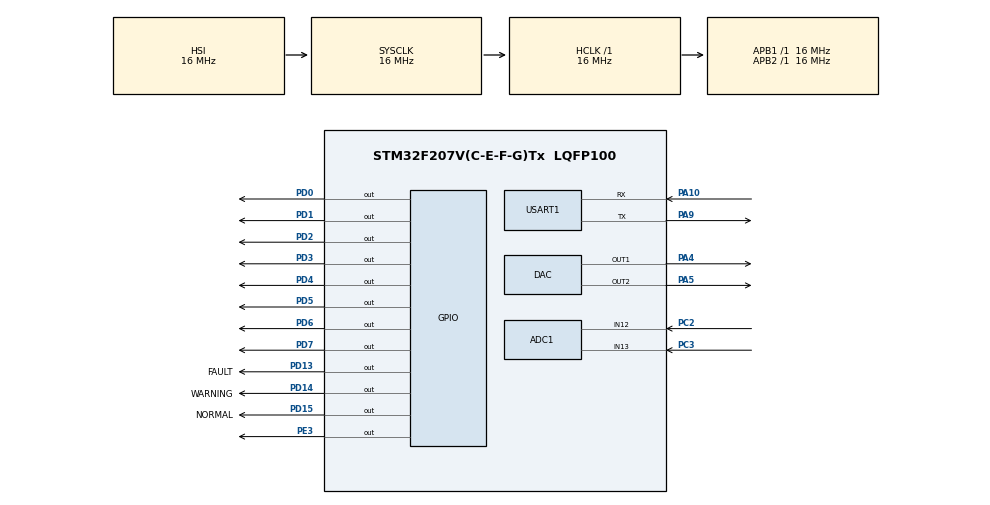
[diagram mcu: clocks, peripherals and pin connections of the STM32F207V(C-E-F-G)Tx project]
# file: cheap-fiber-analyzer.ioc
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ADC1.Channel-0\#ChannelRegularConversion=ADC_CHANNEL_12
ADC1.Channel-3\#ChannelRegularConversion=ADC_CHANNEL_13
ADC1.InjNumberOfConversion=0
ADC1.NbrOfConversion=2
ADC1.NbrOfConversionFlag=1
ADC1.Rank-0\#ChannelRegularConversion=1
ADC1.Rank-3\#ChannelRegularConversion=2
ADC1.SamplingTime-0\#ChannelRegularConversion=ADC_SAMPLETIME_84CYCLES
ADC1.SamplingTime-3\#ChannelRegularConversion=ADC_SAMPLETIME_84CYCLES
ADC1.ScanConvMode=ENABLE
ADC1.master=1
Mcu.Family=STM32F2
Mcu.Name=STM32F207V(C-E-F-G)Tx
Mcu.Package=LQFP100
NVIC.PriorityGroup=NVIC_PRIORITYGROUP_4
PA10.Mode=Asynchronous
PA10.Signal=USART1_RX
PA13.Mode=Serial_Wire
PA13.Signal=SYS_JTMS-SWDIO
PA14.Mode=Serial_Wire
PA14.Signal=SYS_JTCK-SWCLK
PA4.Signal=COMP_DAC1_group
PA5.Signal=COMP_DAC2_group
PA9.Mode=Asynchronous
PA9.Signal=USART1_TX
PC2.Signal=ADCx_IN12
PC3.Signal=ADCx_IN13
PD0.Signal=GPIO_Output
PD1.Signal=GPIO_Output
PD13.GPIO_Label=FAULT
PD13.Signal=GPIO_Output
PD14.GPIO_Label=WARNING
PD14.Signal=GPIO_Output
PD15.GPIO_Label=NORMAL
PD15.Signal=GPIO_Output
PD2.Signal=GPIO_Output
PD3.Signal=GPIO_Output
PD4.PinState=GPIO_PIN_SET
PD4.Signal=GPIO_Output
PD5.Signal=GPIO_Output
PD6.Signal=GPIO_Output
PD7.Signal=GPIO_Output
PE3.PinState=GPIO_PIN_SET
PE3.Signal=GPIO_Output
ProjectManager.HeapSize=0x200
ProjectManager.StackSize=0x400
ProjectManager.TargetToolchain=STM32CubeIDE
RCC.48MHZClocksFreq_Value=48000000
RCC.AHBFreq_Value=16000000
RCC.APB1Freq_Value=16000000
RCC.APB2Freq_Value=16000000
RCC.CortexFreq_Value=16000000
RCC.HSE_VALUE=25000000
RCC.HSI_VALUE=16000000
RCC.LSE_VALUE=32768
RCC.SYSCLKFreq_VALUE=16000000
RCC.VCOOutputFreq_Value=192000000
SH.ADCx_IN12.0=ADC1_IN12,IN12
SH.ADCx_IN13.0=ADC1_IN13,IN13
SH.COMP_DAC1_group.0=DAC_OUT1,DAC_OUT1
SH.COMP_DAC2_group.0=DAC_OUT2,DAC_OUT2
USART1.VirtualMode=VM_ASYNC
board=custom

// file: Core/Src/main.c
/* USER CODE BEGIN Header */
/**
  ******************************************************************************
  * @file           : main.c
  * @brief          : Main program body
  ******************************************************************************
  * @attention
  *
  * Copyright (c) 2026 STMicroelectronics.
  * All rights reserved.
  *
  * This software is licensed under terms that can be found in the LICENSE file
  * in the root directory of this software component.
  * If no LICENSE file comes with this software, it is provided AS-IS.
  *
  ******************************************************************************
  */
/* USER CODE END Header */
#include "main.h"

/* USER CODE BEGIN Includes */
#include <stdio.h>
#include <string.h>

/* USER CODE END Includes */

ADC_HandleTypeDef hadc1;

DAC_HandleTypeDef hdac;

UART_HandleTypeDef huart1;

/* USER CODE BEGIN PV */
volatile uint32_t adc12_value = 0;
volatile uint32_t adc13_value = 0;

char uart_tx_buffer[80];

/* USER CODE END PV */

void SystemClock_Config(void);
static void MX_GPIO_Init(void);
static void MX_ADC1_Init(void);
static void MX_DAC_Init(void);
static void MX_USART1_UART_Init(void);

int main(void)
{

  /* MCU Configuration--------------------------------------------------------*/

  /* Reset of all peripherals, Initializes the Flash interface and the Systick. */
  HAL_Init();

  /* Configure the system clock */
  SystemClock_Config();

  /* Initialize all configured peripherals */
  MX_GPIO_Init();
  MX_ADC1_Init();
  MX_DAC_Init();
  MX_USART1_UART_Init();

  /* Infinite loop */
  while (1)
  {

    /* USER CODE BEGIN 3 */
	  HAL_GPIO_WritePin(GPIOE, GPIO_PIN_3, GPIO_PIN_RESET);
    /* Start ADC conversion sequence */
    if (HAL_ADC_Start(&hadc1) != HAL_OK)
    {
      Error_Handler();
    }

    /* Rank 1 = ADC12 */
    if (HAL_ADC_PollForConversion(&hadc1, 100) != HAL_OK)
    {
      Error_Handler();
    }

    adc12_value = HAL_ADC_GetValue(&hadc1);

    /* Rank 2 = ADC13 */
    if (HAL_ADC_PollForConversion(&hadc1, 100) != HAL_OK)
    {
      Error_Handler();
    }

    adc13_value = HAL_ADC_GetValue(&hadc1);

    HAL_ADC_Stop(&hadc1);

    /* Send measurement through USART1 */
    snprintf(
        uart_tx_buffer,
        sizeof(uart_tx_buffer),
        "ADC12=%lu;ADC13=%lu;DAC1=0;DAC2=0\r\n",
        (unsigned long)adc12_value,
        (unsigned long)adc13_value
    );

    if (HAL_UART_Transmit(
            &huart1,
            (uint8_t *)uart_tx_buffer,
            (uint16_t)strlen(uart_tx_buffer),
            100) != HAL_OK)
    {
      Error_Handler();
    }

    HAL_Delay(500);

    /* USER CODE END 3 */
  }
}

void SystemClock_Config(void)
{
  RCC_OscInitTypeDef RCC_OscInitStruct = {0};
  RCC_ClkInitTypeDef RCC_ClkInitStruct = {0};

  /** Initializes the RCC Oscillators according to the specified parameters
  * in the RCC_OscInitTypeDef structure.
  */
  RCC_OscInitStruct.OscillatorType = RCC_OSCILLATORTYPE_HSI;
  RCC_OscInitStruct.HSIState = RCC_HSI_ON;
  RCC_OscInitStruct.HSICalibrationValue = RCC_HSICALIBRATION_DEFAULT;
  RCC_OscInitStruct.PLL.PLLState = RCC_PLL_NONE;
  if (HAL_RCC_OscConfig(&RCC_OscInitStruct) != HAL_OK)
  {
    Error_Handler();
  }

  /** Initializes the CPU, AHB and APB buses clocks
  */
  RCC_ClkInitStruct.ClockType = RCC_CLOCKTYPE_HCLK|RCC_CLOCKTYPE_SYSCLK
                              |RCC_CLOCKTYPE_PCLK1|RCC_CLOCKTYPE_PCLK2;
  RCC_ClkInitStruct.SYSCLKSource = RCC_SYSCLKSOURCE_HSI;
  RCC_ClkInitStruct.AHBCLKDivider = RCC_SYSCLK_DIV1;
  RCC_ClkInitStruct.APB1CLKDivider = RCC_HCLK_DIV1;
  RCC_ClkInitStruct.APB2CLKDivider = RCC_HCLK_DIV1;

  if (HAL_RCC_ClockConfig(&RCC_ClkInitStruct, FLASH_LATENCY_0) != HAL_OK)
  {
    Error_Handler();
  }
}

static void MX_ADC1_Init(void)
{

  ADC_ChannelConfTypeDef sConfig = {0};

  /** Configure the global features of the ADC (Clock, Resolution, Data Alignment and number of conversion)
  */
  hadc1.Instance = ADC1;
  hadc1.Init.ClockPrescaler = ADC_CLOCK_SYNC_PCLK_DIV2;
  hadc1.Init.Resolution = ADC_RESOLUTION_12B;
  hadc1.Init.ScanConvMode = ENABLE;
  hadc1.Init.ContinuousConvMode = DISABLE;
  hadc1.Init.DiscontinuousConvMode = DISABLE;
  hadc1.Init.ExternalTrigConvEdge = ADC_EXTERNALTRIGCONVEDGE_NONE;
  hadc1.Init.ExternalTrigConv = ADC_SOFTWARE_START;
  hadc1.Init.DataAlign = ADC_DATAALIGN_RIGHT;
  hadc1.Init.NbrOfConversion = 2;
  hadc1.Init.DMAContinuousRequests = DISABLE;
  hadc1.Init.EOCSelection = ADC_EOC_SINGLE_CONV;
  if (HAL_ADC_Init(&hadc1) != HAL_OK)
  {
    Error_Handler();
  }

  /** Configure for the selected ADC regular channel its corresponding rank in the sequencer and its sample time.
  */
  sConfig.Channel = ADC_CHANNEL_12;
  sConfig.Rank = 1;
  sConfig.SamplingTime = ADC_SAMPLETIME_84CYCLES;
  if (HAL_ADC_ConfigChannel(&hadc1, &sConfig) != HAL_OK)
  {
    Error_Handler();
  }

  /** Configure for the selected ADC regular channel its corresponding rank in the sequencer and its sample time.
  */
  sConfig.Channel = ADC_CHANNEL_13;
  sConfig.Rank = 2;
  if (HAL_ADC_ConfigChannel(&hadc1, &sConfig) != HAL_OK)
  {
    Error_Handler();
  }

}

static void MX_DAC_Init(void)
{

  DAC_ChannelConfTypeDef sConfig = {0};

  /** DAC Initialization
  */
  hdac.Instance = DAC;
  if (HAL_DAC_Init(&hdac) != HAL_OK)
  {
    Error_Handler();
  }

  /** DAC channel OUT1 config
  */
  sConfig.DAC_Trigger = DAC_TRIGGER_NONE;
  sConfig.DAC_OutputBuffer = DAC_OUTPUTBUFFER_ENABLE;
  if (HAL_DAC_ConfigChannel(&hdac, &sConfig, DAC_CHANNEL_1) != HAL_OK)
  {
    Error_Handler();
  }

  /** DAC channel OUT2 config
  */
  if (HAL_DAC_ConfigChannel(&hdac, &sConfig, DAC_CHANNEL_2) != HAL_OK)
  {
    Error_Handler();
  }

}

static void MX_USART1_UART_Init(void)
{

  huart1.Instance = USART1;
  huart1.Init.BaudRate = 115200;
  huart1.Init.WordLength = UART_WORDLENGTH_8B;
  huart1.Init.StopBits = UART_STOPBITS_1;
  huart1.Init.Parity = UART_PARITY_NONE;
  huart1.Init.Mode = UART_MODE_TX_RX;
  huart1.Init.HwFlowCtl = UART_HWCONTROL_NONE;
  huart1.Init.OverSampling = UART_OVERSAMPLING_16;
  if (HAL_UART_Init(&huart1) != HAL_OK)
  {
    Error_Handler();
  }

}

static void MX_GPIO_Init(void)
{
  GPIO_InitTypeDef GPIO_InitStruct = {0};

  /* GPIO Ports Clock Enable */
  __HAL_RCC_GPIOE_CLK_ENABLE();
  __HAL_RCC_GPIOC_CLK_ENABLE();
  __HAL_RCC_GPIOA_CLK_ENABLE();
  __HAL_RCC_GPIOD_CLK_ENABLE();

  /*Configure GPIO pin Output Level */
  HAL_GPIO_WritePin(GPIOE, GPIO_PIN_3, GPIO_PIN_SET);

  /*Configure GPIO pin Output Level */
  HAL_GPIO_WritePin(GPIOD, FAULT_Pin|WARNING_Pin|NORMAL_Pin|GPIO_PIN_0
                          |GPIO_PIN_1|GPIO_PIN_2|GPIO_PIN_3|GPIO_PIN_5
                          |GPIO_PIN_6|GPIO_PIN_7, GPIO_PIN_RESET);

  /*Configure GPIO pin Output Level */
  HAL_GPIO_WritePin(GPIOD, GPIO_PIN_4, GPIO_PIN_SET);

  /*Configure GPIO pin : PE3 */
  GPIO_InitStruct.Pin = GPIO_PIN_3;
  GPIO_InitStruct.Mode = GPIO_MODE_OUTPUT_PP;
  GPIO_InitStruct.Pull = GPIO_NOPULL;
  GPIO_InitStruct.Speed = GPIO_SPEED_FREQ_LOW;
  HAL_GPIO_Init(GPIOE, &GPIO_InitStruct);

  /*Configure GPIO pins : FAULT_Pin WARNING_Pin NORMAL_Pin PD0
                           PD1 PD2 PD3 PD4
                           PD5 PD6 PD7 */
  GPIO_InitStruct.Pin = FAULT_Pin|WARNING_Pin|NORMAL_Pin|GPIO_PIN_0
                          |GPIO_PIN_1|GPIO_PIN_2|GPIO_PIN_3|GPIO_PIN_4
                          |GPIO_PIN_5|GPIO_PIN_6|GPIO_PIN_7;
  GPIO_InitStruct.Mode = GPIO_MODE_OUTPUT_PP;
  GPIO_InitStruct.Pull = GPIO_NOPULL;
  GPIO_InitStruct.Speed = GPIO_SPEED_FREQ_LOW;
  HAL_GPIO_Init(GPIOD, &GPIO_InitStruct);

}

void Error_Handler(void)
{
  __disable_irq();
  while (1)
  {
  }
}
